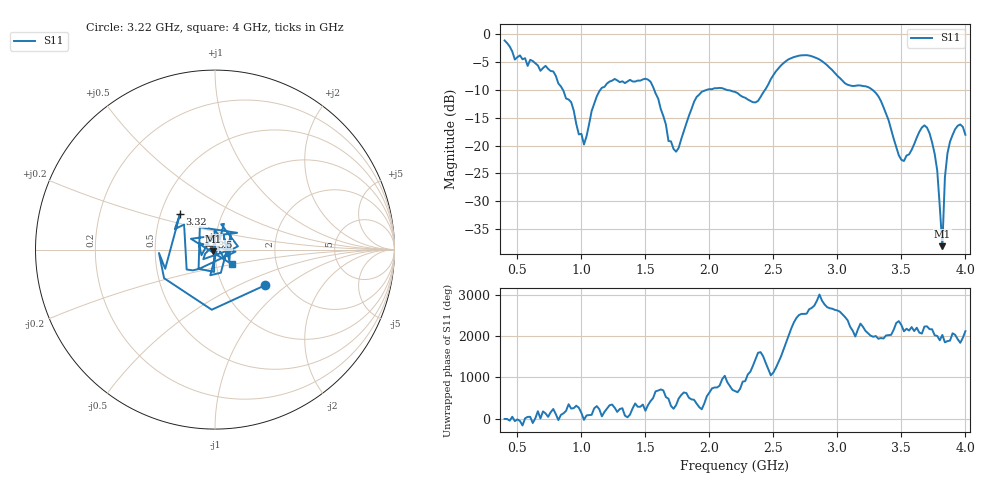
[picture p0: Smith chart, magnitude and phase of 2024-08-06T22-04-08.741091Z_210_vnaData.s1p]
!Created with skrf (http://scikit-rf.org).
# Hz S RI R 50.0
!freq ReS11 ImS11
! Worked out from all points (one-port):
!   181 points, 400 MHz to 4 GHz, reference 50 ohm
!   lowest |S11| = -38.1 dB at 3.82 GHz (marker M1), VSWR 1.03, Z = 49.2 - j0.905 ohm
!   |S11| at or under -10 dB: 855.9 MHz to 1.147 GHz (291.5 MHz wide, 29.1 % of centre); 1.569 GHz to 1.977 GHz (407.5 MHz wide, 23 % of centre); 3.274 GHz to end of sweep (the widest 3 of 4)
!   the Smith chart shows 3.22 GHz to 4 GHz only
!   S11 on the Smith chart (normalised r, x): 3.22 GHz: 1.57, -0.71; 3.32 GHz: 0.63, +0.27; 3.5 GHz: 0.95, +0.14; 4 GHz: 1.19, -0.20
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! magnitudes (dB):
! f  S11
! 400 MHz  -1.1
! 480 MHz  -4.5
! 780 MHz  -6.7
! 860 MHz  -10.2
! 1.02 GHz  -19.8
! 1.14 GHz  -10.2
! 1.3 GHz  -8.6
! 1.54 GHz  -8.5
! 1.68 GHz  -19.2
! 1.76 GHz  -20.4
! 1.94 GHz  -10.3
! 2.2 GHz  -10.4
! 2.38 GHz  -12.0
! 2.66 GHz  -4.1
! 2.86 GHz  -4.5
! 3.1 GHz  -9.2
! 3.22 GHz  -9.3
! 3.32 GHz  -11.1
! 3.5 GHz  -22.6
! 3.56 GHz  -21.6
! 3.66 GHz  -16.8
! 3.72 GHz  -17.8
! 3.78 GHz  -24.5
! 3.82 GHz  -38.1
! 3.84 GHz  -25.7
! 3.86 GHz  -21.4
! 3.94 GHz  -16.4
! 4 GHz  -18.1
